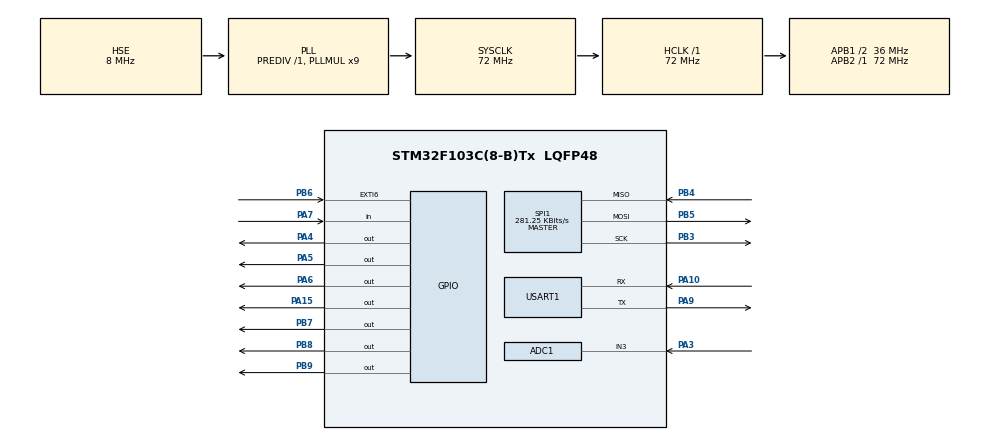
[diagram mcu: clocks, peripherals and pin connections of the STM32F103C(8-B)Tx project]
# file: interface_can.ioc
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ADC1.Channel-1\#ChannelRegularConversion=ADC_CHANNEL_3
ADC1.NbrOfConversionFlag=1
ADC1.Rank-1\#ChannelRegularConversion=1
ADC1.SamplingTime-1\#ChannelRegularConversion=ADC_SAMPLETIME_13CYCLES_5
ADC1.master=1
Mcu.Family=STM32F1
Mcu.Name=STM32F103C(8-B)Tx
Mcu.Package=LQFP48
NVIC.EXTI9_5_IRQn=true\:0\:0\:false\:false\:true\:true\:true\:true
NVIC.PriorityGroup=NVIC_PRIORITYGROUP_4
PA10.Mode=Asynchronous
PA10.Signal=USART1_RX
PA15.Signal=GPIO_Output
PA3.Signal=ADCx_IN3
PA4.Signal=GPIO_Output
PA5.Signal=GPIO_Output
PA6.Signal=GPIO_Output
PA7.Signal=GPIO_Input
PA9.Mode=Asynchronous
PA9.Signal=USART1_TX
PB3.Mode=Full_Duplex_Master
PB3.Signal=SPI1_SCK
PB4.Mode=Full_Duplex_Master
PB4.Signal=SPI1_MISO
PB5.Mode=Full_Duplex_Master
PB5.Signal=SPI1_MOSI
PB6.GPIO_ModeDefaultEXTI=GPIO_MODE_IT_FALLING
PB6.Signal=GPXTI6
PB7.GPIO_ModeDefaultOutputPP=GPIO_MODE_OUTPUT_PP
PB7.GPIO_PuPd=GPIO_PULLUP
PB7.Signal=GPIO_Output
PB8.GPIO_ModeDefaultOutputPP=GPIO_MODE_OUTPUT_OD
PB8.GPIO_PuPd=GPIO_PULLUP
PB8.Signal=GPIO_Output
PB9.GPIO_ModeDefaultOutputPP=GPIO_MODE_OUTPUT_OD
PB9.GPIO_PuPd=GPIO_PULLUP
PB9.Signal=GPIO_Output
PD0-OSC_IN.Mode=HSE-External-Oscillator
PD0-OSC_IN.Signal=RCC_OSC_IN
PD1-OSC_OUT.Mode=HSE-External-Oscillator
PD1-OSC_OUT.Signal=RCC_OSC_OUT
ProjectManager.HeapSize=0x200
ProjectManager.StackSize=0x400
ProjectManager.TargetToolchain=STM32CubeIDE
RCC.ADCPresc=RCC_ADCPCLK2_DIV6
RCC.AHBFreq_Value=72000000
RCC.APB1CLKDivider=RCC_HCLK_DIV2
RCC.APB1Freq_Value=36000000
RCC.APB1TimFreq_Value=72000000
RCC.APB2Freq_Value=72000000
RCC.APB2TimFreq_Value=72000000
RCC.HCLKFreq_Value=72000000
RCC.PLLMUL=RCC_PLL_MUL9
RCC.PLLSourceVirtual=RCC_PLLSOURCE_HSE
RCC.SYSCLKFreq_VALUE=72000000
RCC.SYSCLKSource=RCC_SYSCLKSOURCE_PLLCLK
RCC.USBFreq_Value=72000000
SH.ADCx_IN3.0=ADC1_IN3,IN3
SPI1.BaudRatePrescaler=SPI_BAUDRATEPRESCALER_256
SPI1.CalculateBaudRate=281.25 KBits/s
SPI1.Direction=SPI_DIRECTION_2LINES
SPI1.Mode=SPI_MODE_MASTER
SPI1.VirtualType=VM_MASTER
USART1.VirtualMode=VM_ASYNC
VP_SYS_VS_ND.Mode=No_Debug
board=custom

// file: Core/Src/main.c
/* USER CODE BEGIN Header */
/**
  ******************************************************************************
  * @file           : main.c
  * @brief          : Main program body
  ******************************************************************************
  * @attention
  *
  * Copyright (c) 2026 STMicroelectronics.
  * All rights reserved.
  *
  * This software is licensed under terms that can be found in the LICENSE file
  * in the root directory of this software component.
  * If no LICENSE file comes with this software, it is provided AS-IS.
  *
  ******************************************************************************
  */
/* USER CODE END Header */
#include "main.h"

/* USER CODE BEGIN Includes */
#include "mcp2515.h"
#include "stdbool.h"
/* USER CODE END Includes */

ADC_HandleTypeDef hadc1;

SPI_HandleTypeDef hspi1;

UART_HandleTypeDef huart1;

void SystemClock_Config(void);
static void MX_GPIO_Init(void);
static void MX_SPI1_Init(void);
static void MX_ADC1_Init(void);
static void MX_USART1_UART_Init(void);

/* USER CODE BEGIN 0 */
#define SIZE_FRAME				4
#define DATA0_FRAME				5

#define MCP_CMD_CONNECT			0
#define MCP_CMD_DRIVE			1
#define MCP_CMD_IN_PING			2
#define MCP_CMD_OUT_PING		3
#define MCP_CMD_DATA			4

uint8_t txData[8];
uint8_t rxData[14];

mcp_def mcp = {spi: &hspi1, port: GPIOA, pin: GPIO_PIN_15};
bool is_rxd = 0;

void EXTI3_IRQHandler(void){
	HAL_GPIO_EXTI_IRQHandler(GPIO_PIN_3);
	is_rxd = 1;
}

/* USER CODE END 0 */

int main(void)
{

  /* MCU Configuration--------------------------------------------------------*/

  /* Reset of all peripherals, Initializes the Flash interface and the Systick. */
  HAL_Init();

  /* Configure the system clock */
  SystemClock_Config();

  /* Initialize all configured peripherals */
  MX_GPIO_Init();
  MX_SPI1_Init();
  MX_ADC1_Init();
  MX_USART1_UART_Init();
  /* USER CODE BEGIN 2 */
//  uint8_t byte;
//  uint8_t size_buffer=0;
//  5:LOAD, 6: CLK, 7: Q
  uint8_t byte = 0, ID = 0, counter = 0;
  bool is_ping = 0, is_connect = 0;

  uint8_t data[8] = {
	  MCP_CMD_CONNECT,
	  MCP_CMD_DRIVE,
	  MCP_CMD_IN_PING,
	  MCP_CMD_OUT_PING,
	  MCP_CMD_DATA
  };

  GPIOA->ODR &= ~(0x01<<5);
  for(uint8_t i=0; i<8; i++) {
  	  HAL_Delay(1);
  	  GPIOA->ODR |= 0x01<<6;
  	  GPIOA->ODR |= 0x01<<5;
  	  if(GPIOA->IDR&(0x01<<7)) ID |= 0x01<<i;
  	  HAL_Delay(1);
  	  GPIOA->ODR &= ~(0x01<<6);
  }
  mcp_activate_rx(&mcp);
  mcp_set_mask_standard(&mcp);
  mcp_set_filter_standard(&mcp, ID, 0x07);
  mcp_set_ID_standard(&mcp, ID, 0x07);
  mcp_send(&mcp, &data[MCP_CMD_CONNECT], 1);

  /* USER CODE END 2 */

  /* Infinite loop */
  /* USER CODE BEGIN WHILE */
//  uint32_t adc;
  HAL_GPIO_WritePin(GPIOA, GPIO_PIN_4, 0);
  HAL_GPIO_WritePin(GPIOB, GPIO_PIN_9, 1);
  HAL_GPIO_WritePin(GPIOB, GPIO_PIN_8, 1);
  HAL_GPIO_WritePin(GPIOB, GPIO_PIN_7, 1);
  while (1) {
	  HAL_Delay(200);
	  if(is_ping) HAL_GPIO_TogglePin(GPIOB, GPIO_PIN_8);

	  else HAL_GPIO_WritePin(GPIOB, GPIO_PIN_8, 1);
	  if(is_connect) HAL_GPIO_WritePin(GPIOB, GPIO_PIN_7, 0);

	  if(counter++ > 15) {
		  counter = 0;
		  is_connect = 0;
		  is_ping = 0;
		  HAL_GPIO_WritePin(GPIOB, GPIO_PIN_7, 1);
		  mcp_send(&mcp, &data[MCP_CMD_CONNECT], 1);
	  }

	  if(is_rxd == 0) continue;
	  is_rxd = 0;
	  mcp_read_byte(&mcp, CANINTF, &byte);
	  mcp_bit_modify(&mcp, CANINTF, 0xFF, 0x00);
	  mcp_read_buffer(&mcp, 0x00, rxData);
	  if(byte&0x80)continue;
	  if(rxData[5] == MCP_CMD_CONNECT) is_connect = 1;
	  else if(rxData[5] == MCP_CMD_IN_PING && is_ping == 1) is_ping = 0;
	  else if(rxData[5] == MCP_CMD_IN_PING) is_ping = 1;
	  else if(rxData[5] == MCP_CMD_OUT_PING) is_ping = 0;
	  else if(rxData[5] == MCP_CMD_DRIVE) HAL_GPIO_TogglePin(GPIOA, GPIO_PIN_4);
	  else if(rxData[5] == MCP_CMD_DATA) {
		  HAL_GPIO_TogglePin(GPIOB, GPIO_PIN_9);
		  HAL_Delay(10);
		  HAL_GPIO_TogglePin(GPIOB, GPIO_PIN_9);
		  is_connect = 1;
		  counter = 0;
		  txData[0] = MCP_CMD_DATA;
		  txData[1] = (GPIOA->IDR>>4)&0x01;
		  txData[2] = 0xFF;
		  mcp_send(&mcp, txData, 3);
	  }
    /* USER CODE END WHILE */

  }
}

void SystemClock_Config(void)
{
  RCC_OscInitTypeDef RCC_OscInitStruct = {0};
  RCC_ClkInitTypeDef RCC_ClkInitStruct = {0};
  RCC_PeriphCLKInitTypeDef PeriphClkInit = {0};

  /** Initializes the RCC Oscillators according to the specified parameters
  * in the RCC_OscInitTypeDef structure.
  */
  RCC_OscInitStruct.OscillatorType = RCC_OSCILLATORTYPE_HSE;
  RCC_OscInitStruct.HSEState = RCC_HSE_ON;
  RCC_OscInitStruct.HSEPredivValue = RCC_HSE_PREDIV_DIV1;
  RCC_OscInitStruct.HSIState = RCC_HSI_ON;
  RCC_OscInitStruct.PLL.PLLState = RCC_PLL_ON;
  RCC_OscInitStruct.PLL.PLLSource = RCC_PLLSOURCE_HSE;
  RCC_OscInitStruct.PLL.PLLMUL = RCC_PLL_MUL9;
  if (HAL_RCC_OscConfig(&RCC_OscInitStruct) != HAL_OK)
  {
    Error_Handler();
  }

  /** Initializes the CPU, AHB and APB buses clocks
  */
  RCC_ClkInitStruct.ClockType = RCC_CLOCKTYPE_HCLK|RCC_CLOCKTYPE_SYSCLK
                              |RCC_CLOCKTYPE_PCLK1|RCC_CLOCKTYPE_PCLK2;
  RCC_ClkInitStruct.SYSCLKSource = RCC_SYSCLKSOURCE_PLLCLK;
  RCC_ClkInitStruct.AHBCLKDivider = RCC_SYSCLK_DIV1;
  RCC_ClkInitStruct.APB1CLKDivider = RCC_HCLK_DIV2;
  RCC_ClkInitStruct.APB2CLKDivider = RCC_HCLK_DIV1;

  if (HAL_RCC_ClockConfig(&RCC_ClkInitStruct, FLASH_LATENCY_2) != HAL_OK)
  {
    Error_Handler();
  }
  PeriphClkInit.PeriphClockSelection = RCC_PERIPHCLK_ADC;
  PeriphClkInit.AdcClockSelection = RCC_ADCPCLK2_DIV6;
  if (HAL_RCCEx_PeriphCLKConfig(&PeriphClkInit) != HAL_OK)
  {
    Error_Handler();
  }
}

static void MX_ADC1_Init(void)
{

  ADC_ChannelConfTypeDef sConfig = {0};

  /** Common config
  */
  hadc1.Instance = ADC1;
  hadc1.Init.ScanConvMode = ADC_SCAN_DISABLE;
  hadc1.Init.ContinuousConvMode = DISABLE;
  hadc1.Init.DiscontinuousConvMode = DISABLE;
  hadc1.Init.ExternalTrigConv = ADC_SOFTWARE_START;
  hadc1.Init.DataAlign = ADC_DATAALIGN_RIGHT;
  hadc1.Init.NbrOfConversion = 1;
  if (HAL_ADC_Init(&hadc1) != HAL_OK)
  {
    Error_Handler();
  }

  /** Configure Regular Channel
  */
  sConfig.Channel = ADC_CHANNEL_3;
  sConfig.Rank = ADC_REGULAR_RANK_1;
  sConfig.SamplingTime = ADC_SAMPLETIME_13CYCLES_5;
  if (HAL_ADC_ConfigChannel(&hadc1, &sConfig) != HAL_OK)
  {
    Error_Handler();
  }

}

static void MX_SPI1_Init(void)
{

  /* SPI1 parameter configuration*/
  hspi1.Instance = SPI1;
  hspi1.Init.Mode = SPI_MODE_MASTER;
  hspi1.Init.Direction = SPI_DIRECTION_2LINES;
  hspi1.Init.DataSize = SPI_DATASIZE_8BIT;
  hspi1.Init.CLKPolarity = SPI_POLARITY_LOW;
  hspi1.Init.CLKPhase = SPI_PHASE_1EDGE;
  hspi1.Init.NSS = SPI_NSS_SOFT;
  hspi1.Init.BaudRatePrescaler = SPI_BAUDRATEPRESCALER_256;
  hspi1.Init.FirstBit = SPI_FIRSTBIT_MSB;
  hspi1.Init.TIMode = SPI_TIMODE_DISABLE;
  hspi1.Init.CRCCalculation = SPI_CRCCALCULATION_DISABLE;
  hspi1.Init.CRCPolynomial = 10;
  if (HAL_SPI_Init(&hspi1) != HAL_OK)
  {
    Error_Handler();
  }

}

static void MX_USART1_UART_Init(void)
{

  huart1.Instance = USART1;
  huart1.Init.BaudRate = 115200;
  huart1.Init.WordLength = UART_WORDLENGTH_8B;
  huart1.Init.StopBits = UART_STOPBITS_1;
  huart1.Init.Parity = UART_PARITY_NONE;
  huart1.Init.Mode = UART_MODE_TX_RX;
  huart1.Init.HwFlowCtl = UART_HWCONTROL_NONE;
  huart1.Init.OverSampling = UART_OVERSAMPLING_16;
  if (HAL_UART_Init(&huart1) != HAL_OK)
  {
    Error_Handler();
  }

}

static void MX_GPIO_Init(void)
{
  GPIO_InitTypeDef GPIO_InitStruct = {0};

  /* GPIO Ports Clock Enable */
  __HAL_RCC_GPIOD_CLK_ENABLE();
  __HAL_RCC_GPIOA_CLK_ENABLE();
  __HAL_RCC_GPIOB_CLK_ENABLE();

  /*Configure GPIO pin Output Level */
  HAL_GPIO_WritePin(GPIOA, GPIO_PIN_4|GPIO_PIN_5|GPIO_PIN_6|GPIO_PIN_15, GPIO_PIN_RESET);

  /*Configure GPIO pin Output Level */
  HAL_GPIO_WritePin(GPIOB, GPIO_PIN_7|GPIO_PIN_8|GPIO_PIN_9, GPIO_PIN_RESET);

  /*Configure GPIO pins : PA4 PA5 PA6 PA15 */
  GPIO_InitStruct.Pin = GPIO_PIN_4|GPIO_PIN_5|GPIO_PIN_6|GPIO_PIN_15;
  GPIO_InitStruct.Mode = GPIO_MODE_OUTPUT_PP;
  GPIO_InitStruct.Pull = GPIO_NOPULL;
  GPIO_InitStruct.Speed = GPIO_SPEED_FREQ_LOW;
  HAL_GPIO_Init(GPIOA, &GPIO_InitStruct);

  /*Configure GPIO pin : PA7 */
  GPIO_InitStruct.Pin = GPIO_PIN_7;
  GPIO_InitStruct.Mode = GPIO_MODE_INPUT;
  GPIO_InitStruct.Pull = GPIO_NOPULL;
  HAL_GPIO_Init(GPIOA, &GPIO_InitStruct);

  /*Configure GPIO pin : PB6 */
  GPIO_InitStruct.Pin = GPIO_PIN_6;
  GPIO_InitStruct.Mode = GPIO_MODE_IT_FALLING;
  GPIO_InitStruct.Pull = GPIO_NOPULL;
  HAL_GPIO_Init(GPIOB, &GPIO_InitStruct);

  /*Configure GPIO pin : PB7 */
  GPIO_InitStruct.Pin = GPIO_PIN_7;
  GPIO_InitStruct.Mode = GPIO_MODE_OUTPUT_PP;
  GPIO_InitStruct.Pull = GPIO_PULLUP;
  GPIO_InitStruct.Speed = GPIO_SPEED_FREQ_LOW;
  HAL_GPIO_Init(GPIOB, &GPIO_InitStruct);

  /*Configure GPIO pins : PB8 PB9 */
  GPIO_InitStruct.Pin = GPIO_PIN_8|GPIO_PIN_9;
  GPIO_InitStruct.Mode = GPIO_MODE_OUTPUT_OD;
  GPIO_InitStruct.Pull = GPIO_PULLUP;
  GPIO_InitStruct.Speed = GPIO_SPEED_FREQ_LOW;
  HAL_GPIO_Init(GPIOB, &GPIO_InitStruct);

  /* EXTI interrupt init*/
  HAL_NVIC_SetPriority(EXTI9_5_IRQn, 0, 0);
  HAL_NVIC_EnableIRQ(EXTI9_5_IRQn);

}

void Error_Handler(void)
{
  __disable_irq();
  while (1)
  {
  }
}
